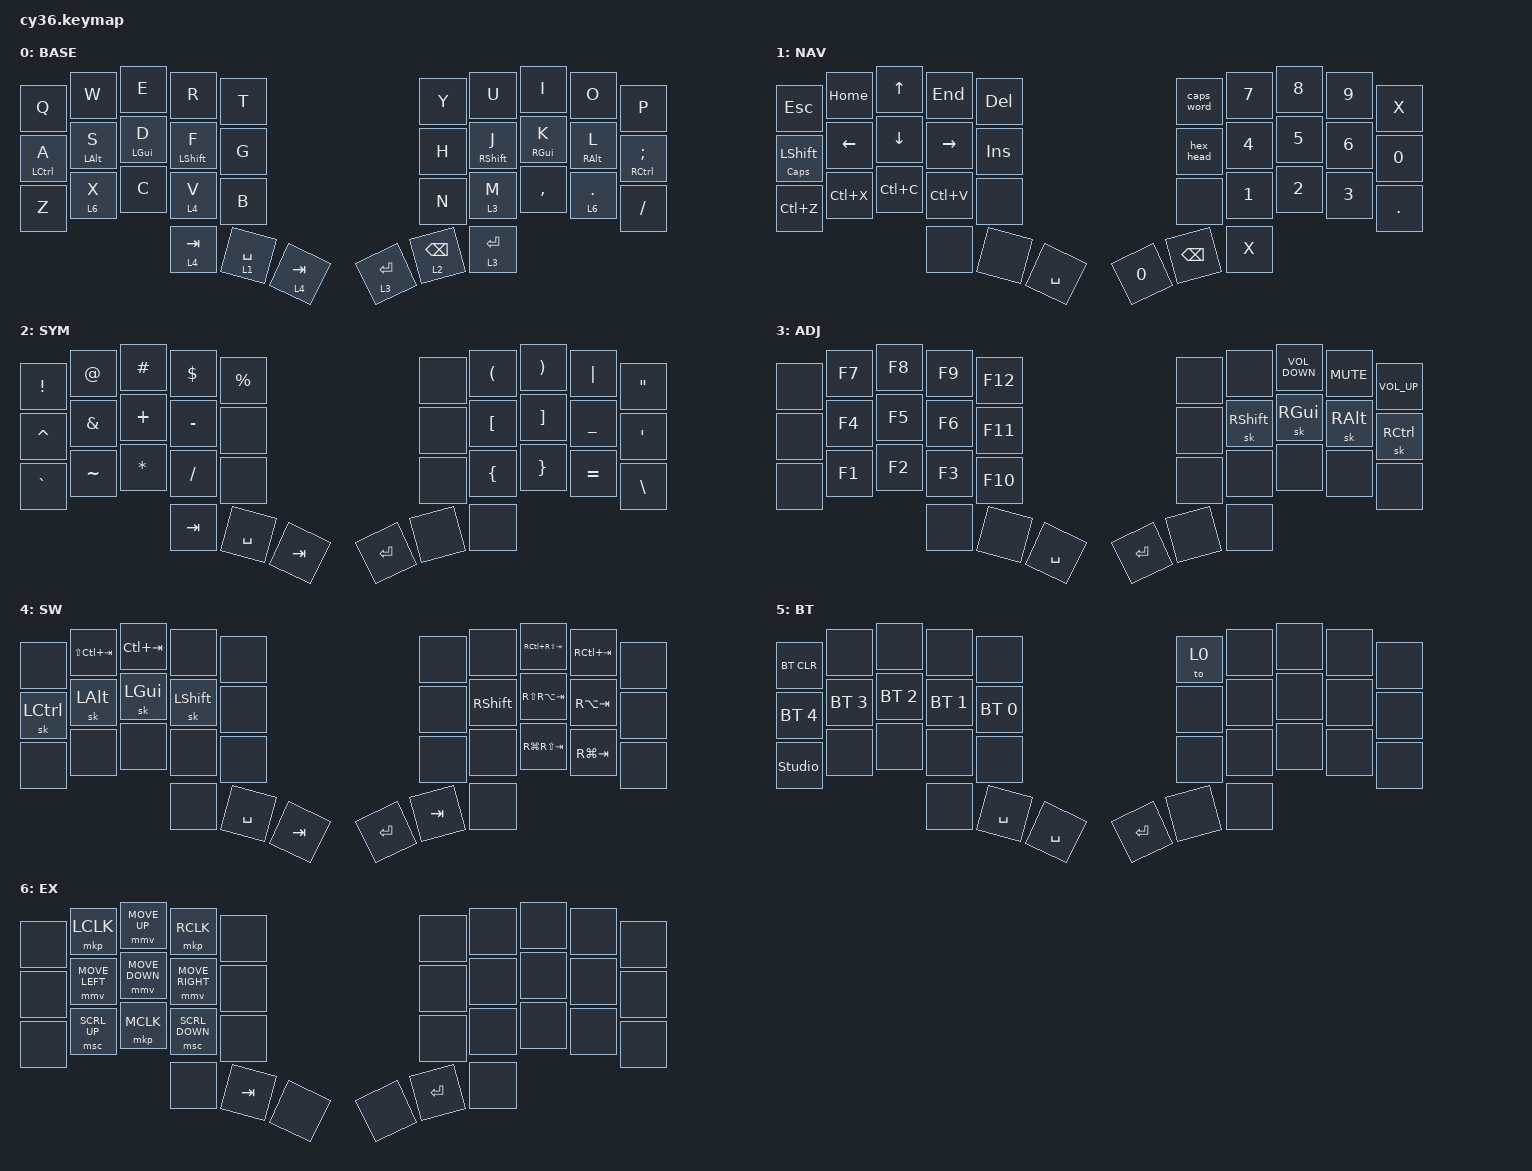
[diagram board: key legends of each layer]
// This file was generated from a template. Edit it to match your keyboard.
// See https://zmk.dev/docs/development/hardware-integration/new-shield for more instructions.

#include <behaviors.dtsi>
#include <dt-bindings/zmk/bt.h>
#include <dt-bindings/zmk/keys.h>
#include <dt-bindings/zmk/pointing.h>

#define BASE 0
#define NAV  1
#define SYM  2
#define ADJ  3
#define SW   4
#define BTS  5
#define EX   6

/ {
    conditional_layers { compatible = "zmk,conditional-layers"; };

    combos {
        compatible = "zmk,combos";

        tobt {
            bindings = <&to 5>;
            key-positions = <4 14 24>;
        };

        combo_tab {
            bindings = <&kp TAB>;
            key-positions = <11 12>;
            layers = <0 1 2>;
            timeout-ms = <30>;
        };

        combo_enter {
            bindings = <&kp ENTER>;
            key-positions = <17 18>;
            layers = <0 1 2>;
            timeout-ms = <30>;
        };

        combo_esc {
            bindings = <&kp ESCAPE>;
            key-positions = <1 2>;
            timeout-ms = <30>;
        };
    };

    behaviors {
        hm: hm {
            compatible = "zmk,behavior-hold-tap";
            label = "HOME_MOD";
            bindings = <&kp>, <&kp>;

            #binding-cells = <2>;
            tapping-term-ms = <300>;
            flavor = "tap-preferred";
            quick-tap-ms = <250>;
        };

        hl: hl {
            compatible = "zmk,behavior-hold-tap";
            label = "HOME_LAYER";
            bindings = <&mo>, <&kp>;

            #binding-cells = <2>;
            tapping-term-ms = <300>;
            quick-tap-ms = <200>;
            flavor = "tap-preferred";
        };

        s_caps: shift_caps {
            compatible = "zmk,behavior-hold-tap";
            label = "SHIFT_CAPS";
            bindings = <&kp>, <&kp>;

            #binding-cells = <2>;
            tapping-term-ms = <250>;
            flavor = "tap-preferred";
        };
    };

    macros {
        hex_head: hex_head {
            compatible = "zmk,behavior-macro";
            #binding-cells = <0>;
            bindings = <&kp N0 &kp X>;
            label = "HEX_HEAD";
        };
    };

    keymap {
        compatible = "zmk,keymap";

        base {
            display-name = "BASE";
            bindings = <
&kp Q  &kp W  &kp E  &kp R  &kp T  &kp Y  &kp U  &kp I  &kp O  &kp P  &hm LCTRL A  &hm LEFT_ALT S  &hm LEFT_GUI D  &hm LEFT_SHIFT F  &kp G  &kp H  &hm RIGHT_SHIFT J  &hm RIGHT_GUI K  &hm RIGHT_ALT L  &hm RCTRL SEMICOLON  &kp Z  &hl 6 X  &kp C  &hl 4 V  &kp B  &kp N  &hl 3 M  &kp COMMA  &hl 6 DOT  &kp SLASH  &hl 4 TAB  &hl 1 SPACE  &hl 4 TAB  &hl 3 ENTER  &hl 2 BACKSPACE  &hl 3 ENTER
            >;
        };

        nav {
            display-name = "NAV";
            bindings = <
&kp ESCAPE  &kp HOME  &kp UP_ARROW  &kp END  &kp DELETE  &caps_word  &kp N7  &kp N8  &kp N9  &kp X  &s_caps CAPSLOCK LEFT_SHIFT  &kp LEFT  &kp DOWN  &kp RIGHT  &kp INS  &hex_head  &kp NUMBER_4  &kp N5  &kp NUMBER_6  &kp N0  &kp LC(Z)  &kp LC(X)  &kp LC(C)  &kp LC(V)  &none  &none  &kp NUMBER_1  &kp NUMBER_2  &kp NUMBER_3  &kp DOT  &none  &none  &kp SPACE  &kp N0  &kp BACKSPACE  &kp X
            >;
        };

        sym {
            display-name = "SYM";
            bindings = <
&kp EXCL  &kp AT  &kp HASH  &kp DLLR  &kp PRCNT  &none  &kp LPAR  &kp RIGHT_PARENTHESIS  &kp PIPE  &kp DOUBLE_QUOTES  &kp CARET  &kp AMPS  &kp PLUS  &kp MINUS  &none  &none  &kp LEFT_BRACKET  &kp RIGHT_BRACKET  &kp UNDERSCORE  &kp SQT  &kp GRAVE  &kp TILDE  &kp ASTERISK  &kp SLASH  &none  &none  &kp LEFT_BRACE  &kp RIGHT_BRACE  &kp EQUAL  &kp BACKSLASH  &kp TAB  &kp SPACE  &kp TAB  &kp RET  &none  &none
            >;
        };

        adj {
            display-name = "ADJ";
            bindings = <
&none  &kp F7  &kp F8  &kp F9  &kp F12  &none  &none  &kp C_VOLUME_DOWN  &kp K_MUTE  &kp C_VOLUME_UP  &none  &kp F4  &kp F5  &kp F6  &kp F11  &none  &sk RIGHT_SHIFT  &sk RIGHT_GUI  &sk RIGHT_ALT  &sk RCTRL  &none  &kp F1  &kp F2  &kp F3  &kp F10  &none  &none  &none  &none  &none  &none  &none  &kp SPACE  &kp RET  &none  &none
            >;
        };

        sw {
            display-name = "SW";
            bindings = <
&none  &kp LS(LC(TAB))  &kp LC(TAB)  &none  &none  &none  &none  &kp RC(RS(TAB))  &kp RC(TAB)  &none  &sk LCTRL  &sk LEFT_ALT  &sk LEFT_GUI  &sk LEFT_SHIFT  &none  &none  &kp RIGHT_SHIFT  &kp RS(RA(TAB))  &kp RA(TAB)  &none  &none  &none  &none  &none  &none  &none  &none  &kp RG(RS(TAB))  &kp RG(TAB)  &none  &none  &kp SPACE  &kp TAB  &kp RET  &kp TAB  &none
            >;
        };

        bts {
            display-name = "BT";
            bindings = <
&bt BT_CLR  &none  &none  &none  &none  &to 0  &none  &none  &none  &none  &bt BT_SEL 4  &bt BT_SEL 3  &bt BT_SEL 2  &bt BT_SEL 1  &bt BT_SEL 0  &none  &none  &none  &none  &none  &studio_unlock  &none  &none  &none  &none  &none  &none  &none  &none  &none  &none  &kp SPACE  &kp SPACE  &kp RET  &none  &none
            >;
        };

        ex {
            display-name = "EX";
            bindings = <
&none  &mkp LCLK  &mmv MOVE_UP  &mkp RCLK  &none  &none  &none  &none  &none  &none  &none  &mmv MOVE_LEFT  &mmv MOVE_DOWN  &mmv MOVE_RIGHT  &none  &none  &none  &none  &none  &none  &none  &msc SCRL_UP  &mkp MCLK  &msc SCRL_DOWN  &none  &none  &none  &none  &none  &none  &none  &kp TAB  &none  &none  &kp ENTER  &none
            >;
        };
    };
};
